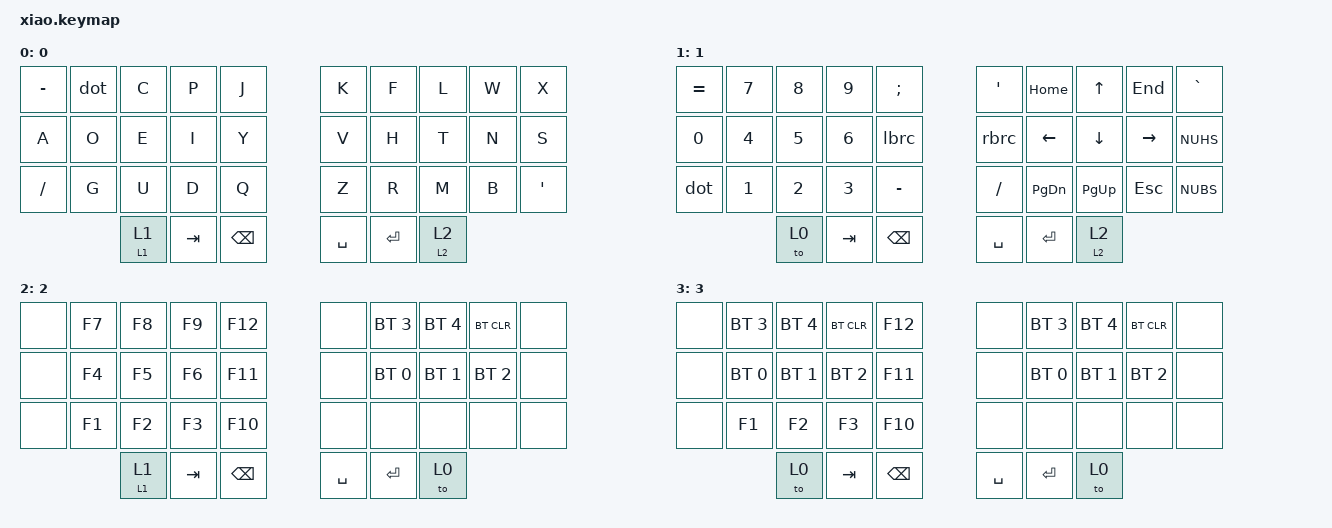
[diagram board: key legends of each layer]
#include <behaviors.dtsi>
#include <dt-bindings/zmk/keys.h>
#include <dt-bindings/zmk/bt.h>
#include <dt-bindings/zmk/outputs.h>

#define L0 0
#define L1 1
#define L2 2




&mt {
   tapping-term-ms = <200>;
   quick-tap-ms = <100>;
   global-quick-tap;
   flavor = "tap-preferred";
};

&sk {
   release-after-ms = <2000>;
};

/ {

combos {
   compatible = "zmk,combos";
   combo_esc {
      timeout-ms = <50>;
      key-positions = <0 10>;
      bindings = <&kp ESC>;
   };
   combo_del {
      timeout-ms = <50>;
      key-positions = <9 19>;
      bindings = <&kp DEL>;
   };
   combo_lshift {
      timeout-ms = <50>;
      key-positions = <12 13>;
      bindings = <&sk LSHIFT>;
   };
   combo_lcrtl {
      timeout-ms = <50>;
      key-positions = <11 13>;
      bindings = <&sk LCTRL>;
   };
   combo_lalt {
      timeout-ms = <50>;
      key-positions = <10 13>;
      bindings = <&sk LALT>;
   };
   combo_lgui {
      timeout-ms = <50>;
      key-positions = <11 12>;
      bindings = <&sk LGUI>;
   };
   combo_rshift {
      timeout-ms = <50>;
      key-positions = <16 17>;
      bindings = <&sk RSHIFT>;
   };
   combo_rcrtl {
      timeout-ms = <50>;
      key-positions = <16 18>;
      bindings = <&sk LCTRL>;
   };
   combo_ralt {
      timeout-ms = <50>;
      key-positions = <16 19>;
      bindings = <&sk LALT>;
   };
   combo_rgui {
      timeout-ms = <50>;
      key-positions = <17 18>;
      bindings = <&kp LGUI>;
   };
   combo_ble1 {
      timeout-ms = <50>;
      key-positions = <30 31>;
      bindings = <&tomo 3 3>;
   };

};

 behaviors{
   lbrc: left_brackets{
      compatible = "zmk,behavior-mod-morph";
      label = "LEFT_BRACKET";
      #binding-cells = <0>;
      bindings = <&kp LBKT>, <&kp LT>;
      mods = <(MOD_LCTL|MOD_RCTL)>;
   };
   rbrc: right_brackets{
      compatible = "zmk,behavior-mod-morph";
      label = "RIGHT_BRACKET";
      #binding-cells = <0>;
      bindings = <&kp RBKT>, <&kp GT>;
      mods = <(MOD_LCTL|MOD_RCTL)>;
   };
   dot: dot{
      compatible = "zmk,behavior-mod-morph";
      label = "DOT";
      #binding-cells = <0>;
      bindings = <&kp DOT>, <&kp COMMA>;
      mods =<(MOD_LSFT|MOD_RSFT)>;
   };
   tomo: behavior_tomo {
      compatible = "zmk,behavior-hold-tap";
      label = "tomo";
      #binding-cells = <2>;
      flavor = "hold-preferred";
      tapping-term-ms = <200>;
      bindings = <&mo>, <&to>;
   };    
};

keymap {
compatible = "zmk,keymap";
0_layer {
label = "0";
bindings = <
   &kp MINUS &dot      &kp C        &kp P     &kp J            &kp K     &kp F     &kp L     &kp W     &kp X    
   &kp A     &kp O     &kp E        &kp I     &kp Y            &kp V     &kp H     &kp T     &kp N     &kp S 
   &kp FSLH  &kp G     &kp U        &kp D     &kp Q            &kp Z     &kp R     &kp M     &kp B     &kp QUOT 
                       &tomo 1 1    &kp TAB   &kp BSPC         &kp SPACE &kp RET   &tomo 2 2 
>;
};

1_layer {
label = "1";
bindings = <
   &kp EQUAL   &kp N7   &kp N8         &kp N9   &kp SEMI          &kp QUOT  &kp HOME     &kp UP     &kp END       &kp GRAVE     
   &kp N0      &kp N4   &kp N5         &kp N6   &lbrc             &rbrc     &kp LEFT     &kp DOWN   &kp RIGHT     &kp NUHS  
   &dot        &kp N1   &kp N2         &kp N3   &kp MINUS         &kp FSLH  &kp PG_DN    &kp PG_UP  &kp ESC       &kp NUBS  
                        &to 0          &kp TAB  &kp BSPC          &kp SPACE &kp RET      &tomo 2 2
>;
};

2_layer {
label = "2";
bindings = <
   &none    &kp F7   &kp F8          &kp F9       &kp F12                &none      &bt BT_SEL 3    &bt BT_SEL 4    &bt BT_CLR      &none     
   &none    &kp F4   &kp F5          &kp F6       &kp F11                &none      &bt BT_SEL 0    &bt BT_SEL 1    &bt BT_SEL 2    &none  
   &none    &kp F1   &kp F2          &kp F3       &kp F10                &none      &none           &none           &none        &none  
                     &tomo 1 1       &kp TAB      &kp BSPC               &kp SPACE  &kp RET         &to 0
>;
};

3_layer {
label = "3";
bindings = <
   &none    &bt BT_SEL 3    &bt BT_SEL 4    &bt BT_CLR    &kp F12                &none      &bt BT_SEL 3    &bt BT_SEL 4    &bt BT_CLR      &none     
   &none    &bt BT_SEL 0    &bt BT_SEL 1    &bt BT_SEL 2  &kp F11                &none      &bt BT_SEL 0    &bt BT_SEL 1    &bt BT_SEL 2    &none  
   &none    &kp F1          &kp F2          &kp F3        &kp F10                &none      &none           &none           &none           &none  
                     &to 0       &kp TAB      &kp BSPC               &kp SPACE  &kp RET         &to 0
>;
};

};

};
